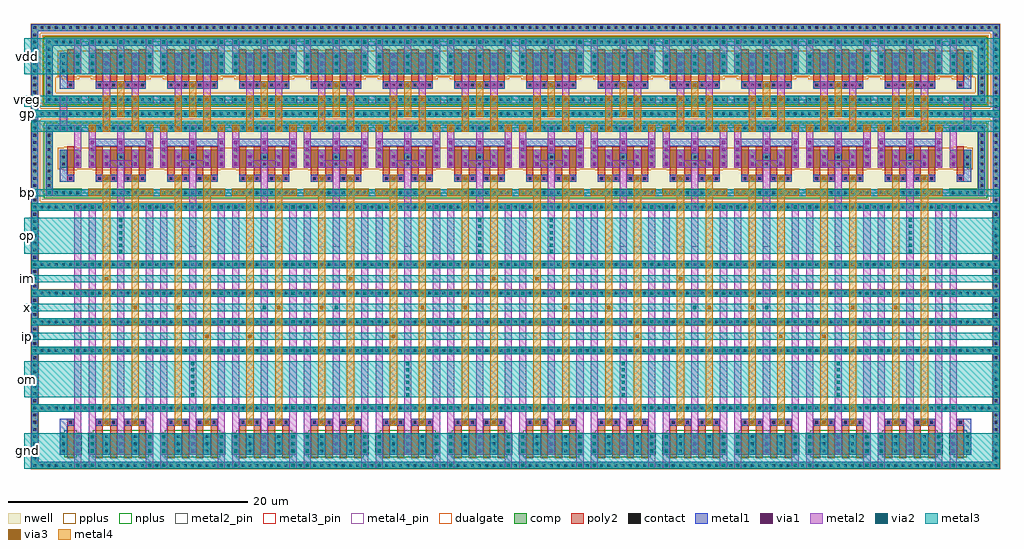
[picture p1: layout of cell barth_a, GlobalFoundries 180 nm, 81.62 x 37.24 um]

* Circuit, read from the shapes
.subckt barth_a bp gnd gp im ip om op vdd vreg x
XM1 gnd barth_edge_1/lo barth_edge_1/lo gnd nfet_03v3 w=1.8u l=0.6u
XM2 barth_cell_0/d1 im gnd gnd nfet_03v3 w=1.8u l=0.6u
XM3 op im barth_cell_0/d1 gnd nfet_03v3 w=1.8u l=0.6u
XM4 barth_cell_0/d2 x op gnd nfet_03v3 w=1.8u l=0.6u
XM5 gnd x barth_cell_0/d2 gnd nfet_03v3 w=1.8u l=0.6u
XM6 barth_cell_2/d1 x gnd gnd nfet_03v3 w=1.8u l=0.6u
XM7 om x barth_cell_2/d1 gnd nfet_03v3 w=1.8u l=0.6u
XM8 barth_cell_2/d2 ip om gnd nfet_03v3 w=1.8u l=0.6u
XM9 gnd ip barth_cell_2/d2 gnd nfet_03v3 w=1.8u l=0.6u
XM10 barth_cell_3/d1 ip gnd gnd nfet_03v3 w=1.8u l=0.6u
XM11 x ip barth_cell_3/d1 gnd nfet_03v3 w=1.8u l=0.6u
XM12 barth_cell_3/d2 x x gnd nfet_03v3 w=1.8u l=0.6u
XM13 gnd x barth_cell_3/d2 gnd nfet_03v3 w=1.8u l=0.6u
XM14 barth_cell_4/d1 x gnd gnd nfet_03v3 w=1.8u l=0.6u
XM15 x x barth_cell_4/d1 gnd nfet_03v3 w=1.8u l=0.6u
XM16 barth_cell_4/d2 im x gnd nfet_03v3 w=1.8u l=0.6u
XM17 gnd im barth_cell_4/d2 gnd nfet_03v3 w=1.8u l=0.6u
XM18 barth_cell_5/d1 ip gnd gnd nfet_03v3 w=1.8u l=0.6u
XM19 om ip barth_cell_5/d1 gnd nfet_03v3 w=1.8u l=0.6u
XM20 barth_cell_5/d2 x om gnd nfet_03v3 w=1.8u l=0.6u
XM21 gnd x barth_cell_5/d2 gnd nfet_03v3 w=1.8u l=0.6u
XM22 barth_cell_6/d1 x gnd gnd nfet_03v3 w=1.8u l=0.6u
XM23 op x barth_cell_6/d1 gnd nfet_03v3 w=1.8u l=0.6u
XM24 barth_cell_6/d2 im op gnd nfet_03v3 w=1.8u l=0.6u
XM25 gnd im barth_cell_6/d2 gnd nfet_03v3 w=1.8u l=0.6u
XM26 barth_cell_7/d2 im gnd gnd nfet_03v3 w=1.8u l=0.6u
XM27 op im barth_cell_7/d2 gnd nfet_03v3 w=1.8u l=0.6u
XM28 barth_cell_7/d1 x op gnd nfet_03v3 w=1.8u l=0.6u
XM29 gnd x barth_cell_7/d1 gnd nfet_03v3 w=1.8u l=0.6u
XM30 barth_cell_8/d2 x gnd gnd nfet_03v3 w=1.8u l=0.6u
XM31 om x barth_cell_8/d2 gnd nfet_03v3 w=1.8u l=0.6u
XM32 barth_cell_8/d1 ip om gnd nfet_03v3 w=1.8u l=0.6u
XM33 gnd ip barth_cell_8/d1 gnd nfet_03v3 w=1.8u l=0.6u
XM34 barth_cell_9/d2 im gnd gnd nfet_03v3 w=1.8u l=0.6u
XM35 x im barth_cell_9/d2 gnd nfet_03v3 w=1.8u l=0.6u
XM36 barth_cell_9/d1 x x gnd nfet_03v3 w=1.8u l=0.6u
XM37 gnd x barth_cell_9/d1 gnd nfet_03v3 w=1.8u l=0.6u
XM38 barth_cell_10/d2 x gnd gnd nfet_03v3 w=1.8u l=0.6u
XM39 x x barth_cell_10/d2 gnd nfet_03v3 w=1.8u l=0.6u
XM40 barth_cell_10/d1 ip x gnd nfet_03v3 w=1.8u l=0.6u
XM41 gnd ip barth_cell_10/d1 gnd nfet_03v3 w=1.8u l=0.6u
XM42 barth_cell_11/d2 ip gnd gnd nfet_03v3 w=1.8u l=0.6u
XM43 om ip barth_cell_11/d2 gnd nfet_03v3 w=1.8u l=0.6u
XM44 barth_cell_11/d1 x om gnd nfet_03v3 w=1.8u l=0.6u
XM45 gnd x barth_cell_11/d1 gnd nfet_03v3 w=1.8u l=0.6u
XM46 barth_cell_12/d2 x gnd gnd nfet_03v3 w=1.8u l=0.6u
XM47 op x barth_cell_12/d2 gnd nfet_03v3 w=1.8u l=0.6u
XM48 barth_cell_12/d1 im op gnd nfet_03v3 w=1.8u l=0.6u
XM49 gnd im barth_cell_12/d1 gnd nfet_03v3 w=1.8u l=0.6u
XM50 barth_edge_13/lo barth_edge_13/lo gnd gnd nfet_03v3 w=1.8u l=0.6u
XM51 vreg barth_edge_1/hi barth_edge_1/hi bp pfet_03v3 w=1.5u l=0.6u
XM52 vdd barth_edge_1/hih barth_edge_1/hih vdd pfet_06v0 w=1.8u l=0.6u
XM53 op im vreg bp pfet_03v3 w=1.5u l=0.6u m=8
XM54 vreg gp vdd vdd pfet_06v0 w=1.8u l=0.6u m=48
XM55 op x vreg bp pfet_03v3 w=1.5u l=0.6u m=8
XM56 om x vreg bp pfet_03v3 w=1.5u l=0.6u m=8
XM57 om ip vreg bp pfet_03v3 w=1.5u l=0.6u m=8
XM58 x ip vreg bp pfet_03v3 w=1.5u l=0.6u m=4
XM59 x x vreg bp pfet_03v3 w=1.5u l=0.6u m=8
XM60 x im vreg bp pfet_03v3 w=1.5u l=0.6u m=4
XM61 barth_edge_13/hi barth_edge_13/hi vreg bp pfet_03v3 w=1.5u l=0.6u
XM62 barth_edge_13/hih barth_edge_13/hih vdd vdd pfet_06v0 w=1.8u l=0.6u
.ends

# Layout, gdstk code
from math import pi, radians
import gdstk
lib = gdstk.Library(unit=1e-6, precision=1e-09)
def R(c, l, rs):  # rectangles x0, y0, x1, y1
    for r in rs: c.add(gdstk.rectangle(r[:2], r[2:], *l))
def A(c, l, x, y, w, h, nx, ny, dx, dy):  # array of equal rectangles
    R(c, l, [(x+i*dx, y+j*dy, x+i*dx+w, y+j*dy+h) for i in range(nx) for j in range(ny)])
nwell = (21, 0)
comp = (22, 0)
poly2 = (30, 0)
pplus = (31, 0)
nplus = (32, 0)
contact = (33, 0)
metal1 = (34, 0)
via1 = (35, 0)
metal2 = (36, 0)
metal2_pin = (36, 10)
via2 = (38, 0)
via3 = (40, 0)
metal3 = (42, 0)
metal3_pin = (42, 10)
metal4 = (46, 0)
metal4_pin = (46, 10)
dualgate = (55, 0)

barth_cell = lib.new_cell('barth_cell')
R(barth_cell, nwell, [(-36,15.9,-29.4,22.5), (-36,23.7,-29.4,29.7)])
A(barth_cell, comp, -36, -6.6, 6.6, 0.6, 1, 3, 0, 4.8)
A(barth_cell, comp, -36, 5.4, 6.6, 0.6, 1, 3, 0, 2.4)
R(barth_cell, comp, [(-35.4,-5.4,-30,-3.6), (-36,15,-29.4,15.6), (-35.4,16.2,-30,16.8), (-35.4,18.6,-30,20.1), (-35.4,21.6,-30,22.2), (-36,22.8,-29.4,23.4), (-35.4,24,-30,24.6), (-35.4,26.4,-30,28.2), (-35.4,28.8,-30,29.4), (-36,30,-29.4,30.6)])
A(barth_cell, poly2, -34.8, -5.7, 0.6, 2.7, 4, 2, 1.2, 31.5)
A(barth_cell, poly2, -34.8, 18, 0.6, 2.4, 4, 1, 1.2, 0)
R(barth_cell, poly2, [(-34.8,-3,-33,-2.4), (-32.4,-3,-30.6,-2.4), (-34.8,17.4,-33,18), (-32.4,17.4,-30.6,18), (-34.8,25.2,-30.6,25.8)])
A(barth_cell, pplus, -36.02, -6.62, 6.64, 0.64, 1, 3, 0, 4.8)
A(barth_cell, pplus, -36.02, 5.38, 6.64, 0.64, 1, 3, 0, 2.4)
R(barth_cell, pplus, [(-36.02,14.98,-29.38,15.31), (-36.16,15.31,-29.24,15.76), (-35.03,18.37,-30.37,18.44), (-35.56,18.44,-29.84,20.26), (-35.03,20.26,-30.37,20.33), (-36.16,22.64,-29.24,23.56), (-35.03,26.17,-30.37,26.24), (-35.56,26.24,-29.84,28.36), (-35.03,28.36,-30.37,28.43), (-36.16,29.84,-29.24,30.29), (-36.02,30.29,-29.38,30.62)])
R(barth_cell, nplus, [(-35.03,-5.63,-30.37,-5.42), (-35.42,-5.42,-29.98,-3.58), (-35.03,-3.58,-30.37,-3.37), (-35.56,16.04,-29.84,16.49), (-35.42,16.49,-29.98,16.82), (-35.42,21.58,-29.98,21.91), (-35.56,21.91,-29.84,22.36), (-35.56,23.84,-29.84,24.29), (-35.42,24.29,-29.98,24.62), (-35.42,28.78,-29.98,29.11), (-35.56,29.11,-29.84,29.56)])
A(barth_cell, contact, -35.81, -6.41, 0.22, 0.22, 11, 3, 0.6, 4.8)
A(barth_cell, contact, -35.21, -5.21, 0.22, 0.22, 5, 3, 1.2, 0.6)
A(barth_cell, contact, -34.61, -2.81, 0.22, 0.22, 3, 2, 0.6, 20.4)
A(barth_cell, contact, -32.21, -2.81, 0.22, 0.22, 3, 2, 0.6, 20.4)
A(barth_cell, contact, -35.81, 5.59, 0.22, 0.22, 11, 3, 0.6, 2.4)
A(barth_cell, contact, -35.81, 15.19, 0.22, 0.22, 11, 2, 0.6, 7.8)
A(barth_cell, contact, -35.21, 16.39, 0.22, 0.22, 9, 2, 0.6, 5.4)
A(barth_cell, contact, -35.21, 18.79, 0.22, 0.22, 5, 2, 1.2, 0.6)
A(barth_cell, contact, -35.21, 24.19, 0.22, 0.22, 9, 2, 0.6, 4.8)
A(barth_cell, contact, -34.61, 25.39, 0.22, 0.22, 7, 1, 0.6, 0)
A(barth_cell, contact, -35.21, 26.59, 0.22, 0.22, 5, 3, 1.2, 0.6)
A(barth_cell, contact, -35.81, 30.19, 0.22, 0.22, 11, 1, 0.6, 0)
A(barth_cell, metal1, -36, -6.6, 6.6, 0.6, 1, 3, 0, 4.8)
A(barth_cell, metal1, -35.4, -5.4, 0.6, 1.8, 5, 2, 1.2, 31.8)
A(barth_cell, metal1, -36, 5.4, 6.6, 0.6, 1, 3, 0, 2.4)
A(barth_cell, metal1, -35.4, 18.6, 0.6, 1.8, 3, 1, 2.4, 0)
A(barth_cell, metal1, -36, 21.6, 6.6, 0.6, 1, 3, 0, 1.2)
R(barth_cell, metal1, [(-34.8,-3,-33,-2.4), (-32.4,-3,-30.6,-2.4), (-36,15,-29.4,15.6), (-36,16.2,-29.4,16.8), (-34.8,17.4,-33,18), (-32.4,17.4,-30.6,18), (-34.2,18.6,-33.6,20.1), (-31.8,18.6,-31.2,20.1), (-35.4,20.4,-30,21), (-34.8,25.2,-30.6,25.8), (-36,28.8,-29.4,29.4), (-36,30,-29.4,30.6)])
A(barth_cell, via1, -35.23, -6.43, 0.26, 0.26, 1, 3, 0, 4.8)
A(barth_cell, via1, -30.43, -6.43, 0.26, 0.26, 1, 3, 0, 4.8)
A(barth_cell, via1, -35.23, -5.23, 0.26, 0.26, 3, 3, 2.4, 0.6)
A(barth_cell, via1, -35.23, 5.57, 0.26, 0.26, 1, 3, 0, 2.4)
A(barth_cell, via1, -30.43, 5.57, 0.26, 0.26, 1, 3, 0, 2.4)
A(barth_cell, via1, -35.23, 19.97, 0.26, 0.26, 3, 2, 2.4, 0.6)
A(barth_cell, via1, -35.23, 26.57, 0.26, 0.26, 5, 3, 1.2, 0.6)
A(barth_cell, via1, -35.23, 28.97, 0.26, 0.26, 3, 1, 2.4, 0)
R(barth_cell, via1, [(-34.03,-2.83,-33.77,-2.57), (-31.63,-2.83,-31.37,-2.57), (-35.23,15.17,-34.97,15.43), (-30.43,15.17,-30.17,15.43), (-35.23,16.37,-34.97,16.63), (-30.43,16.37,-30.17,16.63), (-34.03,17.57,-33.77,17.83), (-31.63,17.57,-31.37,17.83), (-35.23,18.77,-34.97,19.03), (-34.03,18.77,-33.77,19.03), (-31.63,18.77,-31.37,19.03), (-30.43,18.77,-30.17,19.03), (-35.23,19.37,-34.97,19.63), (-34.03,19.37,-33.77,19.63), (-31.63,19.37,-31.37,19.63), (-30.43,19.37,-30.17,19.63), (-32.83,25.37,-32.57,25.63)])
A(barth_cell, metal2, -35.4, 26.4, 0.6, 3, 3, 1, 2.4, 0)
R(barth_cell, metal2, [(-35.4,-6.6,-34.8,15.6), (-30.6,-6.6,-30,15.6), (-33,-5.4,-32.4,18.6), (-34.2,-3,-33.6,-2.4), (-31.8,-3,-31.2,-2.4), (-35.4,16.2,-34.8,16.8), (-30.6,16.2,-30,16.8), (-34.2,17.4,-33.6,18), (-31.8,17.4,-31.2,18), (-35.4,18.6,-34.8,22.2), (-34.2,18.6,-31.2,19.2), (-30.6,18.6,-30,22.2), (-34.2,19.2,-33.6,20.1), (-31.8,19.2,-31.2,20.1), (-33,19.8,-32.4,22.2), (-34.2,21.6,-33.6,28.2), (-31.8,21.6,-31.2,28.2), (-33,25.2,-32.4,25.8)])
R(barth_cell, metal2_pin, [(-33,-0.6,-32.4,12)])
A(barth_cell, via2, -35.23, -5.23, 0.26, 0.26, 1, 3, 0, 0.6)
A(barth_cell, via2, -30.43, -5.23, 0.26, 0.26, 1, 3, 0, 0.6)
A(barth_cell, via2, -35.23, 3.17, 0.26, 0.26, 1, 4, 0, 2.4)
A(barth_cell, via2, -30.43, 3.17, 0.26, 0.26, 1, 4, 0, 2.4)
A(barth_cell, via2, -35.23, 21.77, 0.26, 0.26, 5, 1, 1.2, 0)
A(barth_cell, via2, -35.23, 26.57, 0.26, 0.26, 3, 3, 2.4, 0.6)
A(barth_cell, via2, -35.23, 28.97, 0.26, 0.26, 3, 1, 2.4, 0)
R(barth_cell, via2, [(-35.23,-6.43,-34.97,-6.17), (-30.43,-6.43,-30.17,-6.17), (-34.03,-2.83,-33.77,-2.57), (-31.63,-2.83,-31.37,-2.57), (-35.23,-1.63,-34.97,-1.37), (-30.43,-1.63,-30.17,-1.37), (-35.23,15.17,-34.97,15.43), (-30.43,15.17,-30.17,15.43), (-35.23,16.37,-34.97,16.63), (-30.43,16.37,-30.17,16.63), (-34.03,17.57,-33.77,17.83), (-31.63,17.57,-31.37,17.83), (-34.03,24.17,-33.77,24.43), (-31.63,24.17,-31.37,24.43), (-32.83,25.37,-32.57,25.63)])
R(barth_cell, via3, [(-34.03,-2.83,-33.77,-2.57), (-31.63,-2.83,-31.37,-2.57), (-34.03,17.57,-33.77,17.83), (-31.63,17.57,-31.37,17.83), (-35.23,21.77,-34.97,22.03), (-34.03,21.77,-33.77,22.03), (-31.63,21.77,-31.37,22.03), (-30.43,21.77,-30.17,22.03), (-32.83,22.97,-32.57,23.23), (-34.03,24.17,-33.77,24.43), (-31.63,24.17,-31.37,24.43), (-32.83,25.37,-32.57,25.63)])
A(barth_cell, metal3, -36, 3, 6.6, 0.6, 1, 7, 0, 1.2)
R(barth_cell, metal3, [(-36,-6.6,-29.4,-3.6), (-34.2,-3,-33.6,-2.4), (-31.8,-3,-31.2,-2.4), (-36,-1.8,-29.4,-1.2), (-36,-0.6,-29.4,2.4), (-36,11.4,-29.4,14.4), (-36,15,-29.4,15.6), (-36,16.2,-29.4,16.8), (-34.2,17.4,-33.6,18), (-31.8,17.4,-31.2,18), (-36,21.6,-29.4,22.5), (-36,22.8,-29.4,23.4), (-36,23.7,-29.4,24.6), (-33,25.2,-32.4,25.8), (-36,26.4,-29.4,29.4)])
R(barth_cell, metal3_pin, [(-36,-6.6,-29.4,-3.6), (-36,-0.6,-29.4,2.4), (-36,4.2,-29.4,4.8), (-36,9,-29.4,9.6), (-36,11.4,-29.4,14.4), (-36,22.8,-29.4,23.4), (-36,23.7,-35.4,24.6), (-36,26.4,-29.4,29.4)])
R(barth_cell, metal4, [(-34.2,-3,-33.6,16.2), (-31.8,-3,-31.2,16.2), (-35.4,16.2,-33.6,16.8), (-31.8,16.2,-30,16.8), (-34.2,16.8,-33.6,18), (-31.8,16.8,-31.2,18), (-35.4,21.6,-34.8,22.2), (-34.2,21.6,-33.6,24.6), (-31.8,21.6,-31.2,24.6), (-30.6,21.6,-30,22.2), (-33,22.8,-32.4,25.8)])
R(barth_cell, metal4_pin, [(-34.2,-0.6,-33.6,12), (-31.8,-0.6,-31.2,12)])
R(barth_cell, dualgate, [(-35.64,23.76,-29.76,24.84), (-35.2,26,-30.2,26.16), (-35.64,26.16,-29.76,29.64)])
barth_cell.add(gdstk.Label('d1', (-33.9,-4.5), layer=34, texttype=0))
barth_cell.add(gdstk.Label('d2', (-31.5,-4.5), layer=34, texttype=0))
barth_cell.add(gdstk.Label('vss', (-32.7,30.3), layer=34, texttype=0))
barth_cell.add(gdstk.Label('vss', (-32.7,23.1), layer=34, texttype=0))
barth_cell.add(gdstk.Label('inl', (-33.9,5.7), layer=46, texttype=10))
barth_cell.add(gdstk.Label('inr', (-31.5,5.7), layer=46, texttype=10))
barth_cell.add(gdstk.Label('out', (-32.7,5.7), layer=36, texttype=10))
barth_cell.add(gdstk.Label('vdd', (-32.7,27.9), layer=42, texttype=10))
barth_cell.add(gdstk.Label('gp', (-32.7,23.1), layer=42, texttype=10))
barth_cell.add(gdstk.Label('vreg', (-35.7,24.15), layer=42, texttype=10))
barth_cell.add(gdstk.Label('op', (-32.7,12.9), layer=42, texttype=10))
barth_cell.add(gdstk.Label('im', (-32.7,9.3), layer=42, texttype=10))
barth_cell.add(gdstk.Label('ip', (-32.7,4.5), layer=42, texttype=10))
barth_cell.add(gdstk.Label('om', (-32.7,0.9), layer=42, texttype=10))
barth_cell.add(gdstk.Label('gnd', (-32.7,-5.1), layer=42, texttype=10))

barth_edge = lib.new_cell('barth_edge')
R(barth_edge, nwell, [(-36.9,15.9,-33,22.5), (-36.9,23.7,-33,29.7)])
A(barth_edge, comp, -37.8, -6.6, 4.8, 0.6, 1, 3, 0, 4.8)
A(barth_edge, comp, -37.8, 3.6, 0.6, 1.8, 1, 3, 0, 2.4)
A(barth_edge, comp, -37.8, 5.4, 4.8, 0.6, 1, 3, 0, 2.4)
R(barth_edge, comp, [(-37.8,-6,-37.2,-1.8), (-35.4,-5.4,-33.6,-3.6), (-37.8,-1.2,-37.2,3), (-37.8,10.8,-37.2,15), (-37.8,15,-33,15.6), (-37.8,15.6,-37.2,22.8), (-36.6,16.2,-33.6,16.8), (-36.6,16.8,-36,21.6), (-35.4,18.6,-33.6,20.1), (-36.6,21.6,-33.6,22.2), (-37.8,22.8,-33,23.4), (-37.8,23.4,-37.2,30), (-36.6,24,-33.6,24.6), (-36.6,24.6,-36,28.8), (-35.4,26.4,-33.6,28.2), (-36.6,28.8,-33.6,29.4), (-37.8,30,-33,30.6)])
R(barth_edge, poly2, [(-34.8,-5.7,-34.2,-2.4), (-34.8,17.4,-34.2,20.4), (-34.8,25.2,-34.2,28.5)])
A(barth_edge, pplus, -37.82, -6.62, 4.84, 0.64, 1, 3, 0, 4.8)
A(barth_edge, pplus, -37.82, 3.62, 0.64, 1.76, 1, 3, 0, 2.4)
A(barth_edge, pplus, -37.82, 5.38, 4.84, 0.64, 1, 3, 0, 2.4)
R(barth_edge, pplus, [(-37.82,-5.98,-37.18,-1.82), (-37.82,-1.18,-37.18,2.98), (-37.82,10.82,-37.18,14.98), (-37.82,14.98,-32.98,15.31), (-37.82,15.31,-32.84,15.76), (-37.82,15.76,-37.04,22.64), (-35.03,18.37,-33.97,18.44), (-35.56,18.44,-33.44,20.26), (-35.03,20.26,-33.97,20.33), (-37.82,22.64,-32.84,23.56), (-37.82,23.56,-37.04,29.84), (-35.03,26.17,-33.97,26.24), (-35.56,26.24,-33.44,28.36), (-35.03,28.36,-33.97,28.43), (-37.82,29.84,-32.84,30.29), (-37.82,30.29,-32.98,30.62)])
R(barth_edge, nplus, [(-35.03,-5.63,-33.97,-5.42), (-35.42,-5.42,-33.58,-3.58), (-35.03,-3.58,-33.97,-3.37), (-36.76,16.04,-33.44,16.49), (-36.76,16.49,-33.58,16.82), (-36.76,16.82,-35.98,21.58), (-36.76,21.58,-33.58,21.91), (-36.76,21.91,-33.44,22.36), (-36.76,23.84,-33.44,24.29), (-36.76,24.29,-33.58,24.62), (-36.76,24.62,-35.98,28.78), (-36.76,28.78,-33.58,29.11), (-36.76,29.11,-33.44,29.56)])
A(barth_edge, contact, -37.61, -6.41, 0.22, 0.22, 8, 3, 0.6, 4.8)
A(barth_edge, contact, -37.61, -5.81, 0.22, 0.22, 1, 7, 0, 0.6)
A(barth_edge, contact, -35.21, -5.21, 0.22, 0.22, 1, 3, 0, 0.6)
A(barth_edge, contact, -34.01, -5.21, 0.22, 0.22, 1, 3, 0, 0.6)
A(barth_edge, contact, -37.61, -1.01, 0.22, 0.22, 1, 7, 0, 0.6)
A(barth_edge, contact, -37.61, 3.79, 0.22, 0.22, 1, 3, 0, 0.6)
A(barth_edge, contact, -37.61, 5.59, 0.22, 0.22, 8, 3, 0.6, 2.4)
A(barth_edge, contact, -37.61, 6.19, 0.22, 0.22, 1, 3, 0, 0.6)
A(barth_edge, contact, -37.61, 8.59, 0.22, 0.22, 1, 3, 0, 0.6)
A(barth_edge, contact, -37.61, 10.99, 0.22, 0.22, 1, 7, 0, 0.6)
A(barth_edge, contact, -37.61, 15.19, 0.22, 0.22, 8, 2, 0.6, 7.8)
A(barth_edge, contact, -37.61, 15.79, 0.22, 0.22, 1, 5, 0, 0.6)
A(barth_edge, contact, -36.41, 16.39, 0.22, 0.22, 5, 2, 0.6, 5.4)
A(barth_edge, contact, -36.41, 16.99, 0.22, 0.22, 1, 3, 0, 0.6)
A(barth_edge, contact, -37.61, 18.79, 0.22, 0.22, 4, 2, 1.2, 0.6)
A(barth_edge, contact, -37.61, 19.99, 0.22, 0.22, 1, 5, 0, 0.6)
A(barth_edge, contact, -36.41, 19.99, 0.22, 0.22, 1, 3, 0, 0.6)
A(barth_edge, contact, -37.61, 23.59, 0.22, 0.22, 1, 5, 0, 0.6)
A(barth_edge, contact, -36.41, 24.19, 0.22, 0.22, 5, 2, 0.6, 4.8)
A(barth_edge, contact, -36.41, 24.79, 0.22, 0.22, 1, 3, 0, 0.6)
A(barth_edge, contact, -37.61, 26.59, 0.22, 0.22, 4, 3, 1.2, 0.6)
A(barth_edge, contact, -37.61, 28.39, 0.22, 0.22, 1, 3, 0, 0.6)
A(barth_edge, contact, -37.61, 30.19, 0.22, 0.22, 8, 1, 0.6, 0)
R(barth_edge, contact, [(-34.61,-2.81,-34.39,-2.59), (-34.61,17.59,-34.39,17.81), (-34.61,25.39,-34.39,25.61), (-36.41,28.39,-36.19,28.61)])
A(barth_edge, metal1, -37.8, -6.6, 4.8, 0.6, 1, 3, 0, 4.8)
A(barth_edge, metal1, -37.8, 3.6, 0.6, 1.8, 1, 3, 0, 2.4)
A(barth_edge, metal1, -37.8, 5.4, 4.8, 0.6, 1, 3, 0, 2.4)
R(barth_edge, metal1, [(-37.8,-6,-37.2,-1.8), (-35.4,-5.4,-34.8,-3), (-34.2,-5.4,-33.6,-3.6), (-35.4,-3,-34.2,-2.4), (-37.8,-1.2,-37.2,3), (-37.8,10.8,-37.2,15), (-37.8,15,-33,15.6), (-37.8,15.6,-37.2,22.8), (-36.6,16.2,-33,16.8), (-36.6,16.8,-36,21.6), (-35.4,17.4,-34.2,18), (-35.4,18,-34.8,20.1), (-34.2,18.6,-33.6,20.1), (-36.6,21.6,-33.6,22.2), (-37.8,22.8,-33,23.4), (-37.8,23.4,-37.2,30), (-36.6,24,-33,24.6), (-36.6,24.6,-36,28.8), (-35.4,25.2,-34.2,25.8), (-35.4,25.8,-34.8,28.2), (-34.2,26.4,-33.6,28.2), (-36.6,28.8,-33,29.4), (-37.8,30,-33,30.6)])
A(barth_edge, via1, -34.03, -5.23, 0.26, 0.26, 1, 3, 0, 0.6)
A(barth_edge, via1, -34.03, 3.17, 0.26, 0.26, 1, 4, 0, 2.4)
A(barth_edge, via1, -34.03, 26.57, 0.26, 0.26, 1, 3, 0, 0.6)
R(barth_edge, via1, [(-34.03,-6.43,-33.77,-6.17), (-34.03,-1.63,-33.77,-1.37), (-34.03,15.17,-33.77,15.43), (-36.43,16.37,-36.17,16.63), (-34.03,18.77,-33.77,19.03), (-34.03,19.37,-33.77,19.63), (-34.03,28.97,-33.77,29.23)])
R(barth_edge, metal2, [(-34.2,-6.6,-33.6,15.6), (-36.6,16.2,-36,16.8), (-34.2,18.6,-33.6,22.2), (-35.4,21.6,-34.8,24.6), (-34.2,26.4,-33.6,29.4)])
A(barth_edge, via2, -34.03, -6.43, 0.26, 0.26, 1, 3, 0, 4.8)
A(barth_edge, via2, -34.03, 5.57, 0.26, 0.26, 1, 3, 0, 2.4)
A(barth_edge, via2, -34.03, 26.57, 0.26, 0.26, 1, 3, 0, 0.6)
R(barth_edge, via2, [(-34.03,15.17,-33.77,15.43), (-36.43,16.37,-36.17,16.63), (-35.23,21.77,-34.97,22.03), (-34.03,21.77,-33.77,22.03), (-35.23,24.17,-34.97,24.43), (-34.03,28.97,-33.77,29.23)])
A(barth_edge, metal3, -37.8, 3, 4.8, 0.6, 1, 7, 0, 1.2)
R(barth_edge, metal3, [(-37.8,-6.6,-33,-3.6), (-37.8,-1.8,-33,-1.2), (-37.8,-0.6,-33,2.4), (-37.8,11.4,-33,14.4), (-37.8,15,-33,15.6), (-37.8,16.2,-33,16.8), (-37.8,21.6,-33,22.5), (-37.8,22.8,-33,23.4), (-37.8,23.7,-33,24.6), (-37.8,26.4,-33,29.4)])
A(barth_edge, metal3_pin, -37.8, 4.2, 4.8, 0.6, 1, 3, 0, 2.4)
R(barth_edge, metal3_pin, [(-37.8,-6.6,-33,-3.6), (-37.8,-0.6,-33,2.4), (-37.8,11.4,-33,14.4), (-37.8,16.2,-33,16.8), (-37.8,22.8,-33,23.4), (-37.8,24,-33,24.6), (-37.8,26.4,-33,29.4)])
R(barth_edge, dualgate, [(-36.84,23.76,-33.36,24.84), (-36.84,24.84,-35.76,26.16), (-35.2,26,-33.8,26.16), (-36.84,26.16,-33.36,29.64)])
barth_edge.add(gdstk.Label('hih', (-35.1,25.5), layer=34, texttype=0))
barth_edge.add(gdstk.Label('hi', (-35.1,17.7), layer=34, texttype=0))
barth_edge.add(gdstk.Label('lo', (-35.1,-2.7), layer=34, texttype=0))
barth_edge.add(gdstk.Label('vdd', (-35.4,27.9), layer=42, texttype=10))
barth_edge.add(gdstk.Label('gp', (-35.4,23.1), layer=42, texttype=10))
barth_edge.add(gdstk.Label('bp', (-35.4,16.5), layer=42, texttype=10))
barth_edge.add(gdstk.Label('vreg', (-35.4,24.3), layer=42, texttype=10))
barth_edge.add(gdstk.Label('op', (-35.4,12.9), layer=42, texttype=10))
barth_edge.add(gdstk.Label('x', (-35.4,6.9), layer=42, texttype=10))
barth_edge.add(gdstk.Label('im', (-35.4,9.3), layer=42, texttype=10))
barth_edge.add(gdstk.Label('ip', (-35.4,4.5), layer=42, texttype=10))
barth_edge.add(gdstk.Label('om', (-35.4,0.9), layer=42, texttype=10))
barth_edge.add(gdstk.Label('gnd', (-35.4,-5.1), layer=42, texttype=10))

barth_a = lib.new_cell('barth_a')
A(barth_a, pplus, -47.24, 16.64, 0.28, 1.82, 13, 1, 6, 0)
A(barth_a, pplus, -47.24, 24.44, 0.28, 2.12, 13, 1, 6, 0)
A(barth_a, nplus, -47.24, 14.24, 0.28, 0.45, 13, 2, 6, 5.87)
A(barth_a, nplus, -47.24, 22.04, 0.28, 0.45, 13, 2, 6, 5.27)
R(barth_a, metal1, [(-50.4,14.4,-49.8,15), (27.6,14.4,28.2,15)])
A(barth_a, metal2, -38.4, -2.4, 0.6, 3, 4, 1, 18, 0)
R(barth_a, metal2, [(-32.4,4.8,-31.8,5.4), (-26.4,4.8,-25.8,5.4), (3.6,4.8,4.2,5.4), (9.6,4.8,10.2,5.4), (-44.4,9.6,-43.8,12.6), (-14.4,9.6,-13.8,12.6), (-8.4,9.6,-7.8,12.6), (21.6,9.6,22.2,12.6)])
A(barth_a, via2, -38.23, -2.33, 0.26, 0.26, 4, 6, 18, 0.52)
A(barth_a, via2, -44.23, 9.67, 0.26, 0.26, 1, 6, 0, 0.52)
A(barth_a, via2, -14.23, 9.67, 0.26, 0.26, 1, 6, 0, 0.52)
A(barth_a, via2, -8.23, 9.67, 0.26, 0.26, 1, 6, 0, 0.52)
A(barth_a, via2, 21.77, 9.67, 0.26, 0.26, 1, 6, 0, 0.52)
R(barth_a, via2, [(-32.23,4.97,-31.97,5.23), (-26.23,4.97,-25.97,5.23), (3.77,4.97,4.03,5.23), (9.77,4.97,10.03,5.23)])
R(barth_a, via3, [(-37.03,2.57,-36.77,2.83), (-33.43,2.57,-33.17,2.83), (-21.43,2.57,-21.17,2.83), (-1.03,2.57,-0.77,2.83), (10.97,2.57,11.23,2.83), (14.57,2.57,14.83,2.83), (-43.03,4.97,-42.77,5.23), (-39.43,4.97,-39.17,5.23), (-31.03,4.97,-30.77,5.23), (-27.43,4.97,-27.17,5.23), (-19.03,4.97,-18.77,5.23), (-15.43,4.97,-15.17,5.23), (-7.03,4.97,-6.77,5.23), (-3.43,4.97,-3.17,5.23), (4.97,4.97,5.23,5.23), (8.57,4.97,8.83,5.23), (16.97,4.97,17.23,5.23), (20.57,4.97,20.83,5.23), (-45.43,7.37,-45.17,7.63), (-25.03,7.37,-24.77,7.63), (-13.03,7.37,-12.77,7.63), (-9.43,7.37,-9.17,7.63), (2.57,7.37,2.83,7.63), (22.97,7.37,23.23,7.63)])
A(barth_a, metal3, -38.4, -2.4, 0.6, 3, 4, 1, 18, 0)
A(barth_a, metal3, -52.2, 2.4, 0.6, 0.6, 1, 3, 0, 2.4)
R(barth_a, metal3, [(-52.2,-8.4,-51.6,-5.4), (-52.2,-2.4,-51.6,0.6), (-37.2,2.4,-36.6,3), (-33.6,2.4,-33,3), (-21.6,2.4,-21,3), (-1.2,2.4,-0.6,3), (10.8,2.4,11.4,3), (14.4,2.4,15,3), (-43.2,4.8,-42.6,5.4), (-39.6,4.8,-39,5.4), (-32.4,4.8,-31.8,5.4), (-31.2,4.8,-30.6,5.4), (-27.6,4.8,-27,5.4), (-26.4,4.8,-25.8,5.4), (-19.2,4.8,-18.6,5.4), (-15.6,4.8,-15,5.4), (-7.2,4.8,-6.6,5.4), (-3.6,4.8,-3,5.4), (3.6,4.8,4.2,5.4), (4.8,4.8,5.4,5.4), (8.4,4.8,9,5.4), (9.6,4.8,10.2,5.4), (16.8,4.8,17.4,5.4), (20.4,4.8,21,5.4), (-45.6,7.2,-45,7.8), (-25.2,7.2,-24.6,7.8), (-13.2,7.2,-12.6,7.8), (-9.6,7.2,-9,7.8), (2.4,7.2,3,7.8), (22.8,7.2,23.4,7.8), (-52.2,9.6,-51.6,12.6), (-44.4,9.6,-43.8,12.6), (-14.4,9.6,-13.8,12.6), (-8.4,9.6,-7.8,12.6), (21.6,9.6,22.2,12.6), (-52.2,14.4,29.4,15), (-52.2,21,-51.6,21.6), (-52.2,21.9,-51.6,22.8), (-52.2,24.6,-51.6,27.6)])
R(barth_a, metal3_pin, [(-52.2,-8.4,-51.6,-5.4), (-52.2,-2.4,-51.6,0.6), (-52.2,2.4,-51.6,3), (-52.2,7.2,-51.6,7.8), (-52.2,9.6,-51.6,12.6), (-52.2,14.4,-51.6,15), (-52.2,21,-51.6,21.6), (-52.2,22.2,-51.6,22.8), (-52.2,24.6,-51.6,27.6)])
R(barth_a, metal4, [(-37.2,2.4,-36.6,3), (-33.6,2.4,-33,3), (-21.6,2.4,-21,3), (-1.2,2.4,-0.6,3), (10.8,2.4,11.4,3), (14.4,2.4,15,3), (-43.2,4.8,-42.6,5.4), (-39.6,4.8,-39,5.4), (-31.2,4.8,-30.6,5.4), (-27.6,4.8,-27,5.4), (-19.2,4.8,-18.6,5.4), (-15.6,4.8,-15,5.4), (-7.2,4.8,-6.6,5.4), (-3.6,4.8,-3,5.4), (4.8,4.8,5.4,5.4), (8.4,4.8,9,5.4), (16.8,4.8,17.4,5.4), (20.4,4.8,21,5.4), (-45.6,7.2,-45,7.8), (-25.2,7.2,-24.6,7.8), (-13.2,7.2,-12.6,7.8), (-9.6,7.2,-9,7.8), (2.4,7.2,3,7.8), (22.8,7.2,23.4,7.8)])
A(barth_a, dualgate, -47.16, 21.96, 0.12, 1.08, 13, 1, 6, 0)
A(barth_a, dualgate, -47.16, 24.36, 0.12, 3.48, 13, 1, 6, 0)
barth_a.add(gdstk.Reference(barth_cell, (-11.4,-1.8)))
barth_a.add(gdstk.Reference(barth_edge, (-13.8,-1.8)))
barth_a.add(gdstk.Reference(barth_cell, (-5.4,-1.8)))
barth_a.add(gdstk.Reference(barth_cell, (0.6,-1.8)))
barth_a.add(gdstk.Reference(barth_cell, (6.6,-1.8)))
barth_a.add(gdstk.Reference(barth_cell, (12.6,-1.8)))
barth_a.add(gdstk.Reference(barth_cell, (18.6,-1.8)))
barth_a.add(gdstk.Reference(barth_cell, (-40.8,-1.8), rotation=pi, x_reflection=True))
barth_a.add(gdstk.Reference(barth_cell, (-34.8,-1.8), rotation=pi, x_reflection=True))
barth_a.add(gdstk.Reference(barth_cell, (-28.8,-1.8), rotation=pi, x_reflection=True))
barth_a.add(gdstk.Reference(barth_cell, (-22.8,-1.8), rotation=pi, x_reflection=True))
barth_a.add(gdstk.Reference(barth_cell, (-16.8,-1.8), rotation=pi, x_reflection=True))
barth_a.add(gdstk.Reference(barth_cell, (-10.8,-1.8), rotation=pi, x_reflection=True))
barth_a.add(gdstk.Reference(barth_edge, (-8.4,-1.8), rotation=pi, x_reflection=True))
barth_a.add(gdstk.Label('x', (-51.9,5.1), layer=42, texttype=0))
barth_a.add(gdstk.Label('ip', (-51.9,2.7), layer=42, texttype=10))
barth_a.add(gdstk.Label('im', (-51.9,7.5), layer=42, texttype=10))
barth_a.add(gdstk.Label('op', (-51.9,11.1), layer=42, texttype=10))
barth_a.add(gdstk.Label('om', (-51.9,-0.9), layer=42, texttype=10))
barth_a.add(gdstk.Label('vdd', (-51.9,26.1), layer=42, texttype=10))
barth_a.add(gdstk.Label('gp', (-51.9,21.3), layer=42, texttype=10))
barth_a.add(gdstk.Label('bp', (-51.9,14.7), layer=42, texttype=10))
barth_a.add(gdstk.Label('vreg', (-51.9,22.5), layer=42, texttype=10))
barth_a.add(gdstk.Label('gnd', (-51.9,-6.9), layer=42, texttype=10))

lib.write_gds('barth_a.gds')
